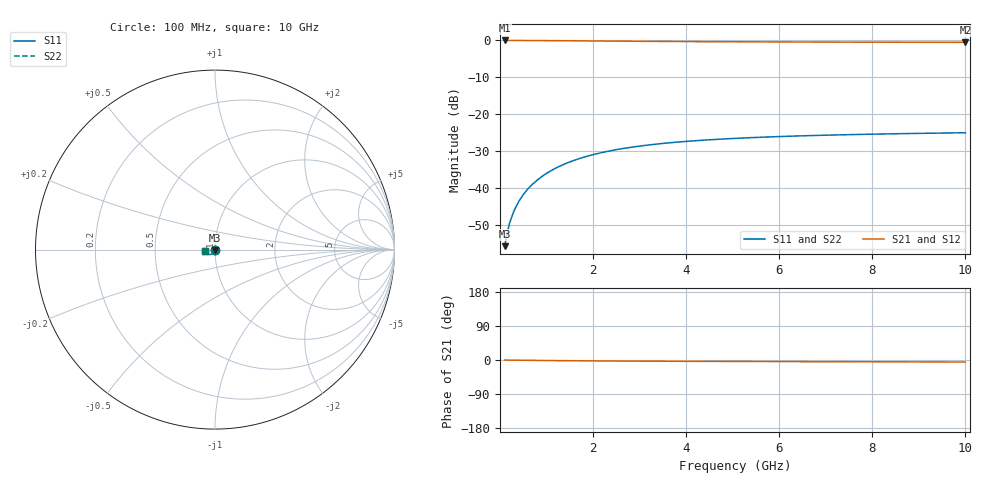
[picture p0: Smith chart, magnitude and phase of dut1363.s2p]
! Touchstone file exported from HFSS 2024.1.0
!  File:  C:/UserFiles/LocalFiles/RDL_TSV_Batchsim/temp_TSV1_1363_1780378401.aedt
!  Generated:  01:39:39 PM Jun  2, 2026
!  Design:  TSV1
!  Project:  temp_TSV1_1363_1780378401
!  Setup:  Setup1
!  Solution:  Sweep
! Variables:
!  dtsv = 13.1um
!  hbump = 3um
!  htsv = 82.22um
!  lrdl = 252.1521522um
!  p = 40
!  p1 = 52.23um
!  t = 500um
!  trdl = 3um
!  wrdl = 24.89489489um
# GHz S MA R 50.000000
! Terminal data exported
! Port[1] = TSV22_T1
! Port[2] = TSV22_T2
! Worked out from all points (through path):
!   100 points, 100 MHz to 10 GHz, reference 50 ohm
!   highest |S21| = 0.00 dB at 100 MHz (marker M1); lowest = -0.5 dB at 10 GHz (marker M2)
!   lowest |S11| = -55.7 dB at 100 MHz (marker M3), VSWR 1.00, Z = 50 - j0.165 ohm
!   |S11| at or under -10 dB: start of sweep to end of sweep
!   |S22| runs from -55.7 to -25.0 dB; largest |S21 - S12| = 1.3e-14
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0.1  0.001649 -88.7  0.9999 -0.1  0.9999 -0.1  0.001649 -88.7
! Gamma 0 0 0 0
! Port Impedance 50 0 50 0
0.2  0.003294 -91.8  0.9997 -0.3  0.9997 -0.3  0.003294 -91.8
0.3  0.004938 -94.1  0.9994 -0.4  0.9994 -0.4  0.004938 -94.1
0.4  0.006573 -96.1  0.999 -0.6  0.999 -0.6  0.006573 -96.1
0.5  0.008193 -98.0  0.9986 -0.7  0.9986 -0.7  0.008193 -98.0
0.6  0.009793 -99.9  0.998 -0.8  0.998 -0.8  0.009793 -99.9
0.7  0.01137 -101.7  0.9974 -1.0  0.9974 -1.0  0.01137 -101.7
0.8  0.01291 -103.5  0.9967 -1.1  0.9967 -1.1  0.01291 -103.5
0.9  0.01443 -105.2  0.9959 -1.2  0.9959 -1.2  0.01443 -105.2
1.1  0.01735 -108.6  0.9942 -1.5  0.9942 -1.5  0.01735 -108.6
1.4  0.02144 -113.4  0.9913 -1.8  0.9913 -1.8  0.02144 -113.4
1.6  0.02396 -116.4  0.9892 -2.0  0.9892 -2.0  0.02396 -116.4
1.8  0.02632 -119.3  0.987 -2.2  0.987 -2.2  0.02632 -119.3
2.1  0.02954 -123.3  0.9838 -2.4  0.9838 -2.4  0.02954 -123.3
2.5  0.03329 -128.2  0.9795 -2.7  0.9795 -2.7  0.03329 -128.2
2.9  0.03649 -132.6  0.9754 -2.9  0.9754 -2.9  0.03649 -132.6
3.4  0.03984 -137.4  0.9708 -3.2  0.9708 -3.2  0.03984 -137.4
4.2  0.04403 -143.9  0.9646 -3.5  0.9646 -3.5  0.04403 -143.9
5.1  0.0475 -149.9  0.959 -3.8  0.959 -3.8  0.0475 -149.9
6.7  0.05169 -158.2  0.952 -4.3  0.952 -4.3  0.05169 -158.2
8.4  0.05454 -165.0  0.947 -4.8  0.947 -4.8  0.05454 -165.0
10  0.05639 -170.2  0.9438 -5.3  0.9438 -5.3  0.05639 -170.2
